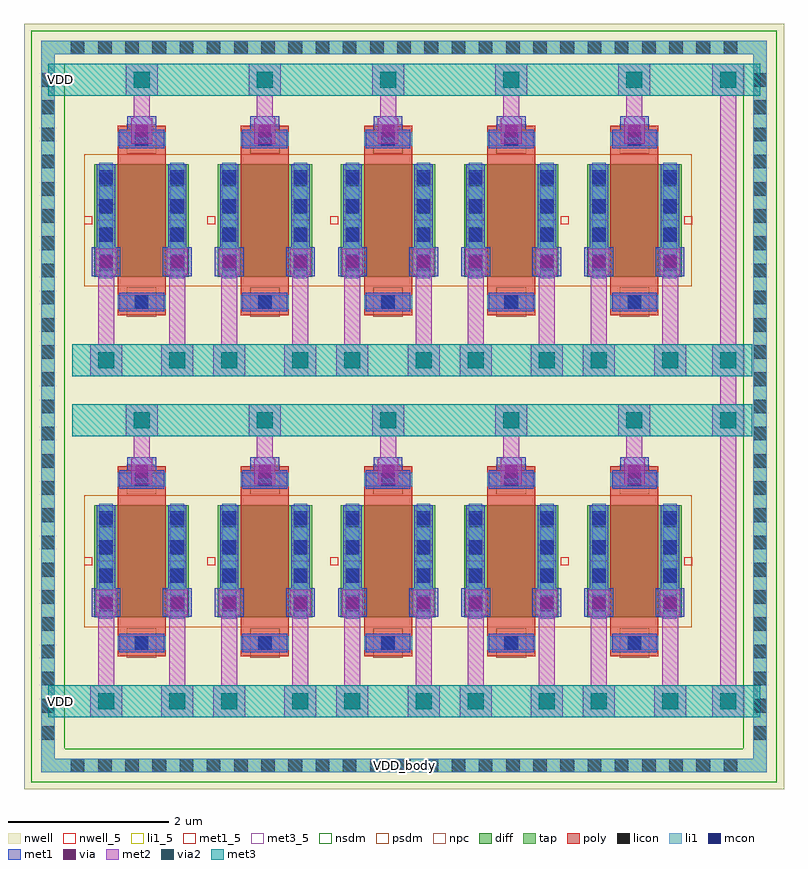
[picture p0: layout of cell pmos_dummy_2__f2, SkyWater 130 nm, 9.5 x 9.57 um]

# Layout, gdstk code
from math import pi, radians
import gdstk
lib = gdstk.Library(unit=1e-6, precision=1e-09)
def R(c, l, rs):  # rectangles x0, y0, x1, y1
    for r in rs: c.add(gdstk.rectangle(r[:2], r[2:], *l))
def A(c, l, x, y, w, h, nx, ny, dx, dy):  # array of equal rectangles
    R(c, l, [(x+i*dx, y+j*dy, x+i*dx+w, y+j*dy+h) for i in range(nx) for j in range(ny)])
nwell_5 = (64, 5)
nwell = (64, 20)
diff = (65, 20)
tap = (65, 44)
poly = (66, 20)
licon = (66, 44)
li1_5 = (67, 5)
li1 = (67, 20)
mcon = (67, 44)
met1_5 = (68, 5)
met1 = (68, 20)
via = (68, 44)
met2 = (69, 20)
via2 = (69, 44)
met3_5 = (70, 5)
met3 = (70, 20)
nsdm = (93, 44)
psdm = (94, 20)
npc = (95, 20)

sky130_fd_pr__pfet_01v8_ = lib.new_cell('sky130_fd_pr__pfet_01v8_RGDEC8')
R(sky130_fd_pr__pfet_01v8_, nwell, [(-0.77,-1.2,0.77,1.2)])
R(sky130_fd_pr__pfet_01v8_, diff, [(-0.59,-0.7,0.59,0.7)])
R(sky130_fd_pr__pfet_01v8_, poly, [(-0.3,-1.185,0.3,1.185)])
A(sky130_fd_pr__pfet_01v8_, licon, -0.53, -0.595, 0.17, 0.17, 1, 4, 0, 0.34)
A(sky130_fd_pr__pfet_01v8_, licon, 0.36, -0.595, 0.17, 0.17, 1, 4, 0, 0.34)
R(sky130_fd_pr__pfet_01v8_, licon, [(-0.085,-1.105,0.085,-0.935), (-0.085,0.935,0.085,1.105)])
R(sky130_fd_pr__pfet_01v8_, li1, [(-0.3,-1.105,0.3,-0.935), (-0.53,-0.72,-0.36,0.72), (0.36,-0.72,0.53,0.72), (-0.3,0.935,0.3,1.105)])
A(sky130_fd_pr__pfet_01v8_, mcon, -0.53, -0.625, 0.17, 0.17, 1, 4, 0, 0.36)
A(sky130_fd_pr__pfet_01v8_, mcon, 0.36, -0.625, 0.17, 0.17, 1, 4, 0, 0.36)
R(sky130_fd_pr__pfet_01v8_, mcon, [(-0.085,-1.105,0.085,-0.935), (-0.085,0.935,0.085,1.105)])
R(sky130_fd_pr__pfet_01v8_, met1, [(-0.28,-1.135,0.28,-0.905), (-0.56,-0.7,-0.33,0.7), (0.33,-0.7,0.56,0.7), (-0.28,0.905,0.28,1.135)])
R(sky130_fd_pr__pfet_01v8_, psdm, [(-0.715,-0.825,0.715,0.825)])
R(sky130_fd_pr__pfet_01v8_, npc, [(-0.185,-1.205,0.185,-0.835), (-0.185,0.835,0.185,1.205)])
sky130_fd_pr__pfet_01v8_.add(gdstk.Label('D', (-0.445,0), layer=67, texttype=5))
sky130_fd_pr__pfet_01v8_.add(gdstk.Label('S', (0.445,0), layer=67, texttype=5))
sky130_fd_pr__pfet_01v8_.add(gdstk.Label('G', (0,1.02), layer=67, texttype=5))

pfet_01v8_w1p4_l0p6_m6__ = lib.new_cell('pfet_01v8_W1p4_L0p6_m6__nf1_gboth_sdfull_ng')
R(pfet_01v8_w1p4_l0p6_m6__, nwell_5, [(0.05,1.15,0.15,1.25)])
R(pfet_01v8_w1p4_l0p6_m6__, nwell, [(0.05,1.15,0.15,1.25)])
R(pfet_01v8_w1p4_l0p6_m6__, met1_5, [(0.21,1.2,0.44,1.4), (1.1,1.2,1.33,1.4), (0.49,2.105,1.05,2.335)])
R(pfet_01v8_w1p4_l0p6_m6__, met1, [(0.21,1.2,0.44,1.4), (1.1,1.2,1.33,1.4), (0.49,2.105,1.05,2.335)])
pfet_01v8_w1p4_l0p6_m6__.add(gdstk.Reference(sky130_fd_pr__pfet_01v8_, (0.77,1.2)))
pfet_01v8_w1p4_l0p6_m6__.add(gdstk.Label('D', (0.325,1.3), layer=68, texttype=5))
pfet_01v8_w1p4_l0p6_m6__.add(gdstk.Label('S', (1.215,1.3), layer=68, texttype=5))
pfet_01v8_w1p4_l0p6_m6__.add(gdstk.Label('G', (0.77,2.22), layer=68, texttype=5))
pfet_01v8_w1p4_l0p6_m6__.add(gdstk.Label('B', (0.1,1.2), layer=64, texttype=5))

pmos_dummy_2__f2 = lib.new_cell('pmos_dummy_2__f2')
R(pmos_dummy_2__f2, nwell, [(-0.7,-1.65,8.8,7.92)])
R(pmos_dummy_2__f2, tap, [(-0.485,-1.435,8.585,-1.265), (-0.485,-1.265,-0.315,7.535), (8.415,-1.265,8.585,7.535), (-0.485,7.535,8.585,7.705)])
A(pmos_dummy_2__f2, licon, -0.115, -1.435, 0.17, 0.17, 25, 2, 0.34, 8.97)
A(pmos_dummy_2__f2, licon, -0.485, -1.03, 0.17, 0.17, 1, 25, 0, 0.34)
A(pmos_dummy_2__f2, licon, 8.415, -1.03, 0.17, 0.17, 1, 25, 0, 0.34)
R(pmos_dummy_2__f2, li1_5, [(4,-1.4,4.1,-1.3)])
R(pmos_dummy_2__f2, li1, [(-0.485,-1.435,8.585,-1.265), (-0.485,-1.265,-0.315,7.535), (8.415,-1.265,8.585,7.535), (-0.485,7.535,8.585,7.705)])
A(pmos_dummy_2__f2, met1, 0.59, 2.14, 0.36, 0.36, 5, 2, 1.54, 4.26)
R(pmos_dummy_2__f2, met1, [(0.145,0.505,0.505,0.865), (1.035,0.505,1.395,0.865), (1.685,0.505,2.045,0.865), (2.575,0.505,2.935,0.865), (3.225,0.505,3.585,0.865), (4.115,0.505,4.475,0.865), (4.765,0.505,5.125,0.865), (5.655,0.505,6.015,0.865), (6.305,0.505,6.665,0.865), (7.195,0.505,7.555,0.865), (0.145,4.765,0.505,5.125), (1.035,4.765,1.395,5.125), (1.685,4.765,2.045,5.125), (2.575,4.765,2.935,5.125), (3.225,4.765,3.585,5.125), (4.115,4.765,4.475,5.125), (4.765,4.765,5.125,5.125), (5.655,4.765,6.015,5.125), (6.305,4.765,6.665,5.125), (7.195,4.765,7.555,5.125)])
A(pmos_dummy_2__f2, via, 0.695, 2.245, 0.15, 0.15, 5, 2, 1.54, 4.26)
R(pmos_dummy_2__f2, via, [(0.25,0.61,0.4,0.76), (1.14,0.61,1.29,0.76), (1.79,0.61,1.94,0.76), (2.68,0.61,2.83,0.76), (3.33,0.61,3.48,0.76), (4.22,0.61,4.37,0.76), (4.87,0.61,5.02,0.76), (5.76,0.61,5.91,0.76), (6.41,0.61,6.56,0.76), (7.3,0.61,7.45,0.76), (0.25,4.87,0.4,5.02), (1.14,4.87,1.29,5.02), (1.79,4.87,1.94,5.02), (2.68,4.87,2.83,5.02), (3.33,4.87,3.48,5.02), (4.22,4.87,4.37,5.02), (4.87,4.87,5.02,5.02), (5.76,4.87,5.91,5.02), (6.41,4.87,6.56,5.02), (7.3,4.87,7.45,5.02)])
A(pmos_dummy_2__f2, met2, 0.64, 2.16, 0.26, 0.32, 5, 2, 1.54, 4.26)
A(pmos_dummy_2__f2, met2, 0.67, 2.48, 0.2, 0.28, 5, 2, 1.54, 4.26)
A(pmos_dummy_2__f2, met2, 0.57, 2.76, 0.4, 0.4, 5, 2, 1.54, 4.26)
R(pmos_dummy_2__f2, met2, [(0.125,-0.75,0.525,-0.35), (1.015,-0.75,1.415,-0.35), (1.665,-0.75,2.065,-0.35), (2.555,-0.75,2.955,-0.35), (3.205,-0.75,3.605,-0.35), (4.095,-0.75,4.495,-0.35), (4.745,-0.75,5.145,-0.35), (5.635,-0.75,6.035,-0.35), (6.285,-0.75,6.685,-0.35), (7.175,-0.75,7.575,-0.35), (7.9,-0.75,8.3,-0.35), (0.225,-0.35,0.425,0.525), (1.115,-0.35,1.315,0.525), (1.765,-0.35,1.965,0.525), (2.655,-0.35,2.855,0.525), (3.305,-0.35,3.505,0.525), (4.195,-0.35,4.395,0.525), (4.845,-0.35,5.045,0.525), (5.735,-0.35,5.935,0.525), (6.385,-0.35,6.585,0.525), (7.275,-0.35,7.475,0.525), (8,-0.35,8.2,2.76), (0.195,0.525,0.455,0.845), (1.085,0.525,1.345,0.845), (1.735,0.525,1.995,0.845), (2.625,0.525,2.885,0.845), (3.275,0.525,3.535,0.845), (4.165,0.525,4.425,0.845), (4.815,0.525,5.075,0.845), (5.705,0.525,5.965,0.845), (6.355,0.525,6.615,0.845), (7.245,0.525,7.505,0.845), (7.9,2.76,8.3,3.16), (8,3.16,8.2,3.51), (0.125,3.51,0.525,3.91), (1.015,3.51,1.415,3.91), (1.665,3.51,2.065,3.91), (2.555,3.51,2.955,3.91), (3.205,3.51,3.605,3.91), (4.095,3.51,4.495,3.91), (4.745,3.51,5.145,3.91), (5.635,3.51,6.035,3.91), (6.285,3.51,6.685,3.91), (7.175,3.51,7.575,3.91), (7.9,3.51,8.3,3.91), (0.225,3.91,0.425,4.785), (1.115,3.91,1.315,4.785), (1.765,3.91,1.965,4.785), (2.655,3.91,2.855,4.785), (3.305,3.91,3.505,4.785), (4.195,3.91,4.395,4.785), (4.845,3.91,5.045,4.785), (5.735,3.91,5.935,4.785), (6.385,3.91,6.585,4.785), (7.275,3.91,7.475,4.785), (8,3.91,8.2,7.02), (0.195,4.785,0.455,5.105), (1.085,4.785,1.345,5.105), (1.735,4.785,1.995,5.105), (2.625,4.785,2.885,5.105), (3.275,4.785,3.535,5.105), (4.165,4.785,4.425,5.105), (4.815,4.785,5.075,5.105), (5.705,4.785,5.965,5.105), (6.355,4.785,6.615,5.105), (7.245,4.785,7.505,5.105), (7.9,7.02,8.3,7.42)])
A(pmos_dummy_2__f2, via2, 0.67, 2.86, 0.2, 0.2, 5, 2, 1.54, 4.26)
R(pmos_dummy_2__f2, via2, [(0.225,-0.65,0.425,-0.45), (1.115,-0.65,1.315,-0.45), (1.765,-0.65,1.965,-0.45), (2.655,-0.65,2.855,-0.45), (3.305,-0.65,3.505,-0.45), (4.195,-0.65,4.395,-0.45), (4.845,-0.65,5.045,-0.45), (5.735,-0.65,5.935,-0.45), (6.385,-0.65,6.585,-0.45), (7.275,-0.65,7.475,-0.45), (8,-0.65,8.2,-0.45), (8,2.86,8.2,3.06), (0.225,3.61,0.425,3.81), (1.115,3.61,1.315,3.81), (1.765,3.61,1.965,3.81), (2.655,3.61,2.855,3.81), (3.305,3.61,3.505,3.81), (4.195,3.61,4.395,3.81), (4.845,3.61,5.045,3.81), (5.735,3.61,5.935,3.81), (6.385,3.61,6.585,3.81), (7.275,3.61,7.475,3.81), (8,3.61,8.2,3.81), (8,7.12,8.2,7.32)])
R(pmos_dummy_2__f2, met3_5, [(-0.3,-0.6,-0.2,-0.5), (-0.3,7.17,-0.2,7.27)])
R(pmos_dummy_2__f2, met3, [(-0.4,-0.75,8.5,-0.35), (-0.1,2.76,8.4,3.16), (-0.1,3.51,8.4,3.91), (-0.4,7.02,8.5,7.42)])
R(pmos_dummy_2__f2, nsdm, [(-0.61,-1.56,8.71,-1.14), (-0.61,-1.14,-0.19,7.41), (8.29,-1.14,8.71,7.41), (-0.61,7.41,8.71,7.83)])
A(pmos_dummy_2__f2, psdm, 1.485, 0.375, 0.11, 1.65, 4, 2, 1.54, 4.26)
pmos_dummy_2__f2.add(gdstk.Reference(pfet_01v8_w1p4_l0p6_m6__, (7.7,4.26), rotation=pi, x_reflection=True))
pmos_dummy_2__f2.add(gdstk.Reference(pfet_01v8_w1p4_l0p6_m6__, (6.16,4.26), rotation=pi, x_reflection=True))
pmos_dummy_2__f2.add(gdstk.Reference(pfet_01v8_w1p4_l0p6_m6__, (3.08,4.26)))
pmos_dummy_2__f2.add(gdstk.Reference(pfet_01v8_w1p4_l0p6_m6__, (1.54,4.26)))
pmos_dummy_2__f2.add(gdstk.Reference(pfet_01v8_w1p4_l0p6_m6__, (0,4.26)))
pmos_dummy_2__f2.add(gdstk.Reference(pfet_01v8_w1p4_l0p6_m6__, (7.7,0), rotation=pi, x_reflection=True))
pmos_dummy_2__f2.add(gdstk.Reference(pfet_01v8_w1p4_l0p6_m6__, (6.16,0), rotation=pi, x_reflection=True))
pmos_dummy_2__f2.add(gdstk.Reference(pfet_01v8_w1p4_l0p6_m6__, (3.08,0)))
pmos_dummy_2__f2.add(gdstk.Reference(pfet_01v8_w1p4_l0p6_m6__, (1.54,0)))
pmos_dummy_2__f2.add(gdstk.Reference(pfet_01v8_w1p4_l0p6_m6__, (0,0)))
pmos_dummy_2__f2.add(gdstk.Label('VDD', (-0.25,7.22), layer=70, texttype=5))
pmos_dummy_2__f2.add(gdstk.Label('VDD', (-0.25,-0.55), layer=70, texttype=5))
pmos_dummy_2__f2.add(gdstk.Label('VDD_body', (4.05,-1.35), layer=67, texttype=5))

lib.write_gds('pmos_dummy_2__f2.gds')
